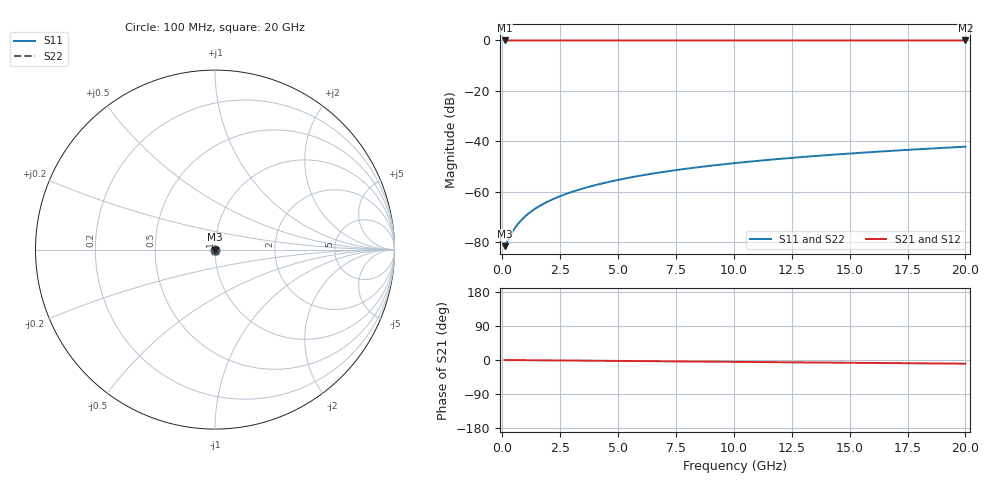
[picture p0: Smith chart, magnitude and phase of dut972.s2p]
! Touchstone file exported from HFSS 2026.1.0
!  File:  C:/ffzhzh/LocalFiles/Ansys_Project_Files/temp_train_TSV_972_1783187797_22436.aedt
!  Generated:  01:57:59 AM Jul  5, 2026
!  Design:  TSV
!  Project:  temp_train_TSV_972_1783187797_22436
! Variables:
!  h_bsmrdl = 2um
!  h_ox = 20um
!  h_rdl = 5um
!  h_sub = 97.9um
!  h_tmrdl = 5um
!  h_tsv = 97.9um
!  h_via = 3um
!  l_bsmrdl = 300um
!  l_sub = 429.46um
!  l_tmrdl = 200um
!  m_sub = 200um
!  pitch = 56.23um
!  r_tsv = 14.73um
!  s_tmrdl = 10um
!  w_bsmrdl = 18um
!  w_sub = 500um
!  w_tmrdl = 12um
!  x_tsv_center1 = 206um
!  x_tsv_center2 = 524um
!  x_tsv_center3 = 736um
!  x_tsv_center4 = 1054um
!  x_tsv_center5 = 1266um
!  x_tsv_center6 = 1584um
# GHz S MA R 50.000000
! Terminal data exported
! Port[1] = TSV1_1_T1
! Port[2] = TSV1_1_T2
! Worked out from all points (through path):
!   200 points, 100 MHz to 20 GHz, reference 50 ohm
!   highest |S21| = 0.00 dB at 100 MHz (marker M1); lowest = 0.0 dB at 20 GHz (marker M2)
!   group delay of S21, straight-line fit = 1.35 ps
!   lowest |S11| = -81.5 dB at 100 MHz (marker M3), VSWR 1.00, Z = 50 + j0.000969 ohm
!   |S11| at or under -10 dB: start of sweep to end of sweep
!   |S22| runs from -81.5 to -42.1 dB; largest |S21 - S12| = 3.6e-15
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0.1  8.435e-05 6.6  0.9999 -0.1  0.9999 -0.1  8.435e-05 6.6
! Gamma 0 0 0 0
! Port Impedance 50 0 50 0
0.2  0.0001015 8.3  0.9999 -0.1  0.9999 -0.1  0.0001015 8.3
0.4  0.0001513 0.0  0.9998 -0.2  0.9998 -0.2  0.0001513 0.0
0.5  0.0001797 -6.1  0.9998 -0.3  0.9998 -0.3  0.0001797 -6.1
0.6  0.0002091 -12.3  0.9998 -0.3  0.9998 -0.3  0.0002091 -12.3
0.8  0.0002697 -23.4  0.9998 -0.4  0.9998 -0.4  0.0002697 -23.4
1.1  0.0003633 -36.0  0.9997 -0.5  0.9997 -0.5  0.0003633 -36.0
1.4  0.0004591 -44.8  0.9997 -0.7  0.9997 -0.7  0.0004591 -44.8
1.8  0.0005896 -52.8  0.9996 -0.9  0.9996 -0.9  0.0005896 -52.8
2.3  0.000757 -59.3  0.9996 -1.1  0.9996 -1.1  0.0007569 -59.3
2.9  0.0009638 -64.3  0.9996 -1.4  0.9996 -1.4  0.0009638 -64.3
3.5  0.001177 -67.8  0.9995 -1.7  0.9995 -1.7  0.001177 -67.8
4.2  0.001433 -70.7  0.9995 -2.1  0.9995 -2.1  0.001433 -70.7
5  0.001733 -73.2  0.9994 -2.4  0.9994 -2.4  0.001733 -73.2
5.9  0.002079 -75.4  0.9994 -2.9  0.9994 -2.9  0.002079 -75.4
6.8  0.002431 -77.3  0.9993 -3.3  0.9993 -3.3  0.002431 -77.3
8.3  0.003027 -79.8  0.9993 -4.1  0.9993 -4.1  0.003027 -79.8
10.1  0.003753 -82.3  0.9992 -4.9  0.9992 -4.9  0.003752 -82.3
11.7  0.004404 -84.2  0.9991 -5.7  0.9991 -5.7  0.004404 -84.2
13.4  0.005101 -86.0  0.9991 -6.5  0.9991 -6.5  0.005101 -86.0
16.7  0.006475 -88.8  0.9989 -8.1  0.9989 -8.1  0.006475 -88.9
20  0.00788 -91.3  0.9988 -9.7  0.9988 -9.7  0.00788 -91.3
